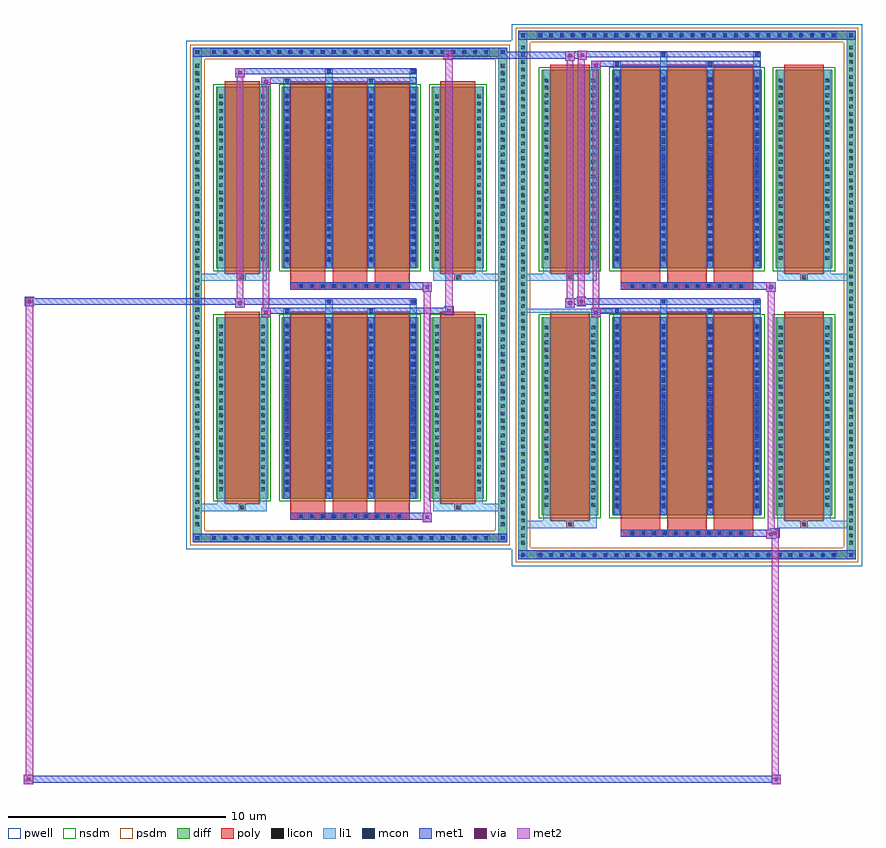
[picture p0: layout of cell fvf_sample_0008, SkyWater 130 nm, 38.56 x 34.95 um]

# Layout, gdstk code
import gdstk
lib = gdstk.Library(unit=1e-6, precision=1e-09)
def R(c, l, rs):  # rectangles x0, y0, x1, y1
    for r in rs: c.add(gdstk.rectangle(r[:2], r[2:], *l))
def A(c, l, x, y, w, h, nx, ny, dx, dy):  # array of equal rectangles
    R(c, l, [(x+i*dx, y+j*dy, x+i*dx+w, y+j*dy+h) for i in range(nx) for j in range(ny)])
def P(c, l, *ps):  # polygons
    for p in ps: c.add(gdstk.Polygon(p, *l))
pwell = (64, 44)
diff = (65, 20)
poly = (66, 20)
licon = (66, 44)
li1 = (67, 20)
mcon = (67, 44)
met1 = (68, 20)
via = (68, 44)
met2 = (69, 20)
nsdm = (93, 44)
psdm = (94, 20)

fvf_sample_0008 = lib.new_cell('fvf_sample_0008')
R(fvf_sample_0008, pwell, [(7.435,-12.464,23.555,12.464), (-7.535,-11.688,7.535,11.688)])
A(fvf_sample_0008, diff, 8.54, -12.154, 0.41, 0.41, 28, 2, 0.5, 23.898)
A(fvf_sample_0008, diff, 7.745, -11.595, 0.41, 0.41, 1, 68, 0, 0.34)
A(fvf_sample_0008, diff, 22.835, -11.595, 0.41, 0.41, 1, 68, 0, 0.34)
A(fvf_sample_0008, diff, -6.455, -11.378, 0.41, 0.41, 26, 2, 0.5, 22.346)
A(fvf_sample_0008, diff, -7.225, -10.745, 0.41, 0.41, 1, 63, 0, 0.34)
A(fvf_sample_0008, diff, 6.815, -10.745, 0.41, 0.41, 1, 63, 0, 0.34)
R(fvf_sample_0008, diff, [(8.54,-12.154,22.45,-11.744), (7.745,-11.595,8.155,11.595), (22.835,-11.595,23.245,11.595), (-6.455,-11.378,6.455,-10.968), (-7.225,-10.745,-6.815,10.745), (6.815,-10.745,7.225,10.745), (8.815,-10.133,11.411,-1.015), (12.051,-10.133,18.939,-1.015), (19.579,-10.133,22.175,-1.015), (-6.155,-9.357,-3.769,-1.015), (-3.129,-9.357,3.129,-1.015), (3.769,-9.357,6.155,-1.015), (-6.155,1.231,-3.769,9.573), (-3.129,1.231,3.129,9.573), (3.769,1.231,6.155,9.573), (8.815,1.231,11.411,10.349), (12.051,1.231,18.939,10.349), (19.579,1.231,22.175,10.349), (-6.455,10.968,6.455,11.378), (8.54,11.744,22.45,12.154)])
P(fvf_sample_0008, diff, [(7.225,11.378),(-7.225,11.378),(-7.225,-10.968),(-6.815,-10.968),(-6.815,10.968),(6.815,10.968),(6.815,-10.968),(-6.815,-10.968),(-7.225,-10.968),(-7.225,-11.378),(7.225,-11.378)],
  [(23.245,12.154),(7.745,12.154),(7.745,-11.744),(8.155,-11.744),(8.155,11.744),(22.835,11.744),(22.835,-11.744),(8.155,-11.744),(7.745,-11.744),(7.745,-12.154),(23.245,-12.154)])
A(fvf_sample_0008, poly, 12.83, -11.114, 0.33, 0.33, 11, 2, 0.5, 11.364)
A(fvf_sample_0008, poly, 12.441, -10.784, 1.816, 0.401, 3, 2, 2.146, 11.364)
A(fvf_sample_0008, poly, 12.441, -10.383, 1.816, 9.618, 3, 2, 2.146, 11.364)
A(fvf_sample_0008, poly, -2.415, -10.338, 0.33, 0.33, 10, 2, 0.5, 10.588)
A(fvf_sample_0008, poly, -2.739, -10.008, 1.606, 0.401, 3, 2, 1.936, 10.588)
A(fvf_sample_0008, poly, -2.739, -9.607, 1.606, 8.842, 3, 2, 1.936, 10.588)
R(fvf_sample_0008, poly, [(12.441,-11.114,18.549,-10.784), (9.948,-10.713,10.278,-10.383), (9.948,-10.713,10.278,-10.383), (20.712,-10.713,21.042,-10.383), (20.712,-10.713,21.042,-10.383), (9.205,-10.383,11.021,-0.765), (19.969,-10.383,21.785,-0.765), (-2.739,-10.338,2.739,-10.008), (-5.127,-9.937,-4.797,-9.607), (-5.127,-9.937,-4.797,-9.607), (4.797,-9.937,5.127,-9.607), (4.797,-9.937,5.127,-9.607), (-5.765,-9.607,-4.159,-0.765), (4.159,-9.607,5.765,-0.765), (-2.739,0.25,2.739,0.58), (12.441,0.25,18.549,0.58), (-5.127,0.651,-4.797,0.981), (-5.127,0.651,-4.797,0.981), (4.797,0.651,5.127,0.981), (4.797,0.651,5.127,0.981), (9.948,0.651,10.278,0.981), (9.948,0.651,10.278,0.981), (20.712,0.651,21.042,0.981), (20.712,0.651,21.042,0.981), (-5.765,0.981,-4.159,9.823), (4.159,0.981,5.765,9.823), (9.205,0.981,11.021,10.599), (19.969,0.981,21.785,10.599)])
A(fvf_sample_0008, licon, 8.66, -12.034, 0.17, 0.17, 28, 2, 0.5, 23.898)
A(fvf_sample_0008, licon, 7.865, -11.475, 0.17, 0.17, 1, 68, 0, 0.34)
A(fvf_sample_0008, licon, 22.955, -11.475, 0.17, 0.17, 1, 68, 0, 0.34)
A(fvf_sample_0008, licon, -6.335, -11.258, 0.17, 0.17, 26, 2, 0.5, 22.346)
A(fvf_sample_0008, licon, 12.91, -11.034, 0.17, 0.17, 11, 2, 0.5, 11.364)
A(fvf_sample_0008, licon, -7.105, -10.625, 0.17, 0.17, 1, 63, 0, 0.34)
A(fvf_sample_0008, licon, 6.935, -10.625, 0.17, 0.17, 1, 63, 0, 0.34)
A(fvf_sample_0008, licon, -2.335, -10.258, 0.17, 0.17, 10, 2, 0.5, 10.588)
A(fvf_sample_0008, licon, 8.955, -9.739, 0.17, 0.17, 1, 25, 0, 0.34)
A(fvf_sample_0008, licon, 11.101, -9.739, 0.17, 0.17, 1, 25, 0, 0.34)
A(fvf_sample_0008, licon, 12.191, -9.739, 0.17, 0.17, 4, 25, 2.146, 0.34)
A(fvf_sample_0008, licon, 19.719, -9.739, 0.17, 0.17, 1, 25, 0, 0.34)
A(fvf_sample_0008, licon, 21.865, -9.739, 0.17, 0.17, 1, 25, 0, 0.34)
A(fvf_sample_0008, licon, -6.015, -9.011, 0.17, 0.17, 1, 23, 0, 0.34)
A(fvf_sample_0008, licon, -4.079, -9.011, 0.17, 0.17, 1, 23, 0, 0.34)
A(fvf_sample_0008, licon, -2.989, -9.011, 0.17, 0.17, 4, 23, 1.936, 0.34)
A(fvf_sample_0008, licon, 3.909, -9.011, 0.17, 0.17, 1, 23, 0, 0.34)
A(fvf_sample_0008, licon, 5.845, -9.011, 0.17, 0.17, 1, 23, 0, 0.34)
A(fvf_sample_0008, licon, -6.015, 1.577, 0.17, 0.17, 1, 23, 0, 0.34)
A(fvf_sample_0008, licon, -4.079, 1.577, 0.17, 0.17, 1, 23, 0, 0.34)
A(fvf_sample_0008, licon, -2.989, 1.577, 0.17, 0.17, 4, 23, 1.936, 0.34)
A(fvf_sample_0008, licon, 3.909, 1.577, 0.17, 0.17, 1, 23, 0, 0.34)
A(fvf_sample_0008, licon, 5.845, 1.577, 0.17, 0.17, 1, 23, 0, 0.34)
A(fvf_sample_0008, licon, 8.955, 1.625, 0.17, 0.17, 1, 25, 0, 0.34)
A(fvf_sample_0008, licon, 11.101, 1.625, 0.17, 0.17, 1, 25, 0, 0.34)
A(fvf_sample_0008, licon, 12.191, 1.625, 0.17, 0.17, 4, 25, 2.146, 0.34)
A(fvf_sample_0008, licon, 19.719, 1.625, 0.17, 0.17, 1, 25, 0, 0.34)
A(fvf_sample_0008, licon, 21.865, 1.625, 0.17, 0.17, 1, 25, 0, 0.34)
R(fvf_sample_0008, licon, [(10.028,-10.633,10.198,-10.463), (20.792,-10.633,20.962,-10.463), (-5.047,-9.857,-4.877,-9.687), (4.877,-9.857,5.047,-9.687), (-5.047,0.731,-4.877,0.901), (4.877,0.731,5.047,0.901), (10.028,0.731,10.198,0.901), (20.792,0.731,20.962,0.901)])
A(fvf_sample_0008, li1, 8.58, -12.114, 0.33, 0.33, 28, 2, 0.5, 23.898)
A(fvf_sample_0008, li1, 7.785, -11.555, 0.33, 0.33, 1, 68, 0, 0.34)
A(fvf_sample_0008, li1, 22.875, -11.555, 0.33, 0.33, 1, 68, 0, 0.34)
A(fvf_sample_0008, li1, -6.415, -11.338, 0.33, 0.33, 26, 2, 0.5, 22.346)
A(fvf_sample_0008, li1, 12.83, -11.114, 0.33, 0.33, 11, 2, 0.5, 11.364)
A(fvf_sample_0008, li1, -7.185, -10.705, 0.33, 0.33, 1, 63, 0, 0.34)
A(fvf_sample_0008, li1, 6.855, -10.705, 0.33, 0.33, 1, 63, 0, 0.34)
A(fvf_sample_0008, li1, -2.415, -10.338, 0.33, 0.33, 10, 2, 0.5, 10.588)
A(fvf_sample_0008, li1, 12.111, -10.133, 0.33, 9.118, 4, 2, 2.146, 11.364)
A(fvf_sample_0008, li1, 8.875, -9.819, 0.33, 0.33, 1, 25, 0, 0.34)
A(fvf_sample_0008, li1, 11.021, -9.819, 0.33, 0.33, 1, 25, 0, 0.34)
A(fvf_sample_0008, li1, 12.111, -9.819, 0.33, 0.33, 4, 25, 2.146, 0.34)
A(fvf_sample_0008, li1, 19.639, -9.819, 0.33, 0.33, 1, 25, 0, 0.34)
A(fvf_sample_0008, li1, 21.785, -9.819, 0.33, 0.33, 1, 25, 0, 0.34)
A(fvf_sample_0008, li1, 12.191, -9.799, 0.17, 0.17, 4, 24, 2.146, 0.36)
A(fvf_sample_0008, li1, 12.191, -9.799, 0.17, 8.45, 4, 2, 2.146, 11.364)
A(fvf_sample_0008, li1, -3.069, -9.357, 0.33, 8.342, 4, 2, 1.936, 10.588)
A(fvf_sample_0008, li1, -6.095, -9.091, 0.33, 0.33, 1, 23, 0, 0.34)
A(fvf_sample_0008, li1, -4.159, -9.091, 0.33, 0.33, 1, 23, 0, 0.34)
A(fvf_sample_0008, li1, -3.069, -9.091, 0.33, 0.33, 4, 23, 1.936, 0.34)
A(fvf_sample_0008, li1, 3.829, -9.091, 0.33, 0.33, 1, 23, 0, 0.34)
A(fvf_sample_0008, li1, 5.765, -9.091, 0.33, 0.33, 1, 23, 0, 0.34)
A(fvf_sample_0008, li1, -2.989, -9.051, 0.17, 0.17, 4, 22, 1.936, 0.36)
A(fvf_sample_0008, li1, -2.989, -9.051, 0.17, 7.73, 4, 2, 1.936, 10.588)
A(fvf_sample_0008, li1, -6.095, 1.497, 0.33, 0.33, 1, 23, 0, 0.34)
A(fvf_sample_0008, li1, -4.159, 1.497, 0.33, 0.33, 1, 23, 0, 0.34)
A(fvf_sample_0008, li1, -3.069, 1.497, 0.33, 0.33, 4, 23, 1.936, 0.34)
A(fvf_sample_0008, li1, 3.829, 1.497, 0.33, 0.33, 1, 23, 0, 0.34)
A(fvf_sample_0008, li1, 5.765, 1.497, 0.33, 0.33, 1, 23, 0, 0.34)
A(fvf_sample_0008, li1, -2.989, 1.537, 0.17, 0.17, 4, 22, 1.936, 0.36)
A(fvf_sample_0008, li1, 8.875, 1.545, 0.33, 0.33, 1, 25, 0, 0.34)
A(fvf_sample_0008, li1, 11.021, 1.545, 0.33, 0.33, 1, 25, 0, 0.34)
A(fvf_sample_0008, li1, 12.111, 1.545, 0.33, 0.33, 4, 25, 2.146, 0.34)
A(fvf_sample_0008, li1, 19.639, 1.545, 0.33, 0.33, 1, 25, 0, 0.34)
A(fvf_sample_0008, li1, 21.785, 1.545, 0.33, 0.33, 1, 25, 0, 0.34)
A(fvf_sample_0008, li1, 12.191, 1.565, 0.17, 0.17, 4, 24, 2.146, 0.36)
R(fvf_sample_0008, li1, [(7.745,-12.154,8.155,-11.744), (22.835,-12.154,23.245,-11.744), (8.58,-12.114,22.41,-11.784), (7.865,-12.034,8.035,-11.864), (7.865,-12.034,8.035,-11.864), (22.955,-12.034,23.125,-11.864), (22.955,-12.034,23.125,-11.864), (7.745,-11.744,8.155,11.744), (22.835,-11.744,23.245,11.744), (-7.225,-11.378,-6.815,-10.968), (6.815,-11.378,7.225,-10.968), (-6.415,-11.338,6.415,-11.008), (-7.105,-11.258,-6.935,-11.088), (-7.105,-11.258,-6.935,-11.088), (6.935,-11.258,7.105,-11.088), (6.935,-11.258,7.105,-11.088), (-7.225,-10.968,-6.815,10.968), (6.815,-10.968,7.225,10.968), (7.745,-10.713,9.948,-10.383), (8.875,-10.713,9.205,-10.133), (8.875,-10.713,9.948,-10.383), (9.948,-10.713,10.278,-10.383), (10.278,-10.713,11.351,-10.383), (11.021,-10.713,11.351,-10.133), (19.639,-10.713,19.969,-10.133), (19.639,-10.713,20.712,-10.383), (20.712,-10.713,21.042,-10.383), (20.712,-10.713,23.245,-10.383), (21.042,-10.713,22.115,-10.383), (21.785,-10.713,22.115,-10.133), (8.875,-10.133,9.205,-1.015), (11.021,-10.133,11.351,-1.015), (19.639,-10.133,19.969,-1.015), (21.785,-10.133,22.115,-1.015), (-7.225,-9.937,-5.127,-9.607), (-6.095,-9.937,-5.127,-9.607), (-6.095,-9.937,-5.765,-9.357), (-5.127,-9.937,-4.797,-9.607), (-4.797,-9.937,-3.829,-9.607), (-4.159,-9.937,-3.829,-9.357), (3.829,-9.937,4.797,-9.607), (3.829,-9.937,4.159,-9.357), (4.797,-9.937,5.127,-9.607), (4.797,-9.937,7.225,-9.607), (5.127,-9.937,6.095,-9.607), (5.765,-9.937,6.095,-9.357), (-6.095,-9.357,-5.765,-1.015), (-4.159,-9.357,-3.829,-1.015), (3.829,-9.357,4.159,-1.015), (5.765,-9.357,6.095,-1.015), (-3.069,-1.015,-2.739,-0.64), (-1.133,-1.015,-0.803,-0.21), (0.803,-1.015,1.133,-0.64), (2.739,-1.015,3.069,-0.21), (12.111,-1.015,12.441,-0.64), (14.257,-1.015,14.587,-0.21), (16.403,-1.015,16.733,-0.64), (18.549,-1.015,18.879,-0.21), (12.131,-0.87,12.421,-0.58), (7.745,-0.825,12.131,-0.625), (-2.989,-0.81,-2.819,-0.64), (0.883,-0.81,1.053,-0.64), (12.191,-0.81,12.361,-0.64), (12.191,-0.81,12.361,-0.64), (16.483,-0.81,16.653,-0.64), (-1.053,-0.38,-0.883,-0.21), (2.819,-0.38,2.989,-0.21), (14.337,-0.38,14.507,-0.21), (18.629,-0.38,18.799,-0.21), (-7.225,0.651,-5.127,0.981), (-6.095,0.651,-5.127,0.981), (-6.095,0.651,-5.765,1.231), (-5.127,0.651,-4.797,0.981), (-4.797,0.651,-3.829,0.981), (-4.159,0.651,-3.829,1.231), (3.829,0.651,4.797,0.981), (3.829,0.651,4.159,1.231), (4.797,0.651,5.127,0.981), (4.797,0.651,7.225,0.981), (5.127,0.651,6.095,0.981), (5.765,0.651,6.095,1.231), (7.745,0.651,9.948,0.981), (8.875,0.651,9.205,1.231), (8.875,0.651,9.948,0.981), (9.948,0.651,10.278,0.981), (10.278,0.651,11.351,0.981), (11.021,0.651,11.351,1.231), (19.639,0.651,19.969,1.231), (19.639,0.651,20.712,0.981), (20.712,0.651,21.042,0.981), (20.712,0.651,23.245,0.981), (21.042,0.651,22.115,0.981), (21.785,0.651,22.115,1.231), (-6.095,1.231,-5.765,9.573), (-4.159,1.231,-3.829,9.573), (3.829,1.231,4.159,9.573), (5.765,1.231,6.095,9.573), (8.875,1.231,9.205,10.349), (11.021,1.231,11.351,10.349), (19.639,1.231,19.969,10.349), (21.785,1.231,22.115,10.349), (-3.069,9.573,-2.739,9.948), (-1.133,9.573,-0.803,10.378), (0.803,9.573,1.133,9.948), (2.739,9.573,3.069,10.378), (-2.989,9.778,-2.819,9.948), (0.883,9.778,1.053,9.948), (-1.053,10.208,-0.883,10.378), (2.819,10.208,2.989,10.378), (12.111,10.349,12.441,10.724), (14.257,10.349,14.587,11.154), (16.403,10.349,16.733,10.724), (18.549,10.349,18.879,11.154), (12.191,10.554,12.361,10.724), (16.483,10.554,16.653,10.724), (-7.225,10.968,-6.815,11.378), (6.815,10.968,7.225,11.378), (14.337,10.984,14.507,11.154), (18.629,10.984,18.799,11.154), (-6.415,11.008,6.415,11.338), (-7.105,11.088,-6.935,11.258), (-7.105,11.088,-6.935,11.258), (6.935,11.088,7.105,11.258), (6.935,11.088,7.105,11.258), (7.745,11.744,8.155,12.154), (22.835,11.744,23.245,12.154), (8.58,11.784,22.41,12.114), (7.865,11.864,8.035,12.034), (7.865,11.864,8.035,12.034), (22.955,11.864,23.125,12.034), (22.955,11.864,23.125,12.034)])
A(fvf_sample_0008, mcon, 8.66, -12.034, 0.17, 0.17, 28, 2, 0.5, 23.898)
A(fvf_sample_0008, mcon, -6.335, -11.258, 0.17, 0.17, 26, 2, 0.5, 22.346)
A(fvf_sample_0008, mcon, 12.91, -11.034, 0.17, 0.17, 11, 2, 0.5, 11.364)
A(fvf_sample_0008, mcon, -2.335, -10.258, 0.17, 0.17, 10, 2, 0.5, 10.588)
A(fvf_sample_0008, mcon, 12.191, -9.799, 0.17, 0.17, 4, 24, 2.146, 0.36)
A(fvf_sample_0008, mcon, -2.989, -9.051, 0.17, 0.17, 4, 22, 1.936, 0.36)
A(fvf_sample_0008, mcon, -2.989, 1.537, 0.17, 0.17, 4, 22, 1.936, 0.36)
A(fvf_sample_0008, mcon, 12.191, 1.565, 0.17, 0.17, 4, 24, 2.146, 0.36)
R(fvf_sample_0008, mcon, [(7.865,-12.034,8.035,-11.864), (22.955,-12.034,23.125,-11.864), (-7.105,-11.258,-6.935,-11.088), (6.935,-11.258,7.105,-11.088), (-2.989,-0.81,-2.819,-0.64), (0.883,-0.81,1.053,-0.64), (12.191,-0.81,12.361,-0.64), (12.191,-0.81,12.361,-0.64), (16.483,-0.81,16.653,-0.64), (-1.053,-0.38,-0.883,-0.21), (2.819,-0.38,2.989,-0.21), (14.337,-0.38,14.507,-0.21), (18.629,-0.38,18.799,-0.21), (-2.989,9.778,-2.819,9.948), (0.883,9.778,1.053,9.948), (-1.053,10.208,-0.883,10.378), (2.819,10.208,2.989,10.378), (12.191,10.554,12.361,10.724), (16.483,10.554,16.653,10.724), (14.337,10.984,14.507,11.154), (18.629,10.984,18.799,11.154), (-7.105,11.088,-6.935,11.258), (6.935,11.088,7.105,11.258), (7.865,11.864,8.035,12.034), (22.955,11.864,23.125,12.034)])
A(fvf_sample_0008, met1, 8.6, -12.094, 0.29, 0.29, 28, 2, 0.5, 23.898)
A(fvf_sample_0008, met1, -6.395, -11.318, 0.29, 0.29, 26, 2, 0.5, 22.346)
A(fvf_sample_0008, met1, 12.85, -11.094, 0.29, 0.29, 11, 2, 0.5, 11.364)
A(fvf_sample_0008, met1, -2.395, -10.318, 0.29, 0.29, 10, 2, 0.5, 10.588)
A(fvf_sample_0008, met1, 12.131, -10.133, 0.29, 9.118, 4, 2, 2.146, 11.364)
A(fvf_sample_0008, met1, 12.131, -9.859, 0.29, 0.29, 4, 24, 2.146, 0.36)
A(fvf_sample_0008, met1, -3.049, -9.357, 0.29, 8.342, 4, 2, 1.936, 10.588)
A(fvf_sample_0008, met1, -3.049, -9.111, 0.29, 0.29, 4, 22, 1.936, 0.36)
A(fvf_sample_0008, met1, -3.049, 1.477, 0.29, 0.29, 4, 22, 1.936, 0.36)
A(fvf_sample_0008, met1, 12.131, 1.505, 0.29, 0.29, 4, 24, 2.146, 0.36)
R(fvf_sample_0008, met1, [(-15.002,-22.484,-14.572,-22.054), (19.384,-22.484,19.814,-22.054), (-15.002,-22.434,19.814,-22.104), (-15.002,-22.104,-14.572,-22.054), (19.384,-22.104,19.814,-22.054), (7.745,-12.154,8.155,-11.744), (7.745,-12.154,8.155,-11.744), (8.155,-12.154,22.835,-11.744), (22.835,-12.154,23.245,-11.744), (22.835,-12.154,23.245,-11.744), (7.805,-12.094,8.095,-11.804), (22.895,-12.094,23.185,-11.804), (-7.225,-11.378,-6.815,-10.968), (-7.225,-11.378,-6.815,-10.968), (-6.815,-11.378,6.815,-10.968), (6.815,-11.378,7.225,-10.968), (6.815,-11.378,7.225,-10.968), (-7.165,-11.318,-6.875,-11.028), (6.875,-11.318,7.165,-11.028), (19.149,-11.214,19.579,-10.784), (19.334,-11.164,19.764,-10.734), (12.441,-11.114,18.549,-10.784), (18.549,-11.114,19.579,-10.784), (18.549,-11.114,19.334,-10.784), (3.339,-10.438,3.769,-10.008), (-2.739,-10.338,2.739,-10.008), (2.739,-10.338,3.769,-10.008), (-4.079,-1.01,-3.649,-0.58), (11.101,-1.01,11.531,-0.58), (4.334,-0.94,4.764,-0.51), (-4.079,-0.87,-3.049,-0.58), (-3.049,-0.87,-2.759,-0.58), (-3.049,-0.87,3.049,-0.58), (0.823,-0.87,1.113,-0.58), (3.049,-0.87,4.334,-0.58), (11.101,-0.87,12.131,-0.58), (12.131,-0.87,12.421,-0.58), (12.131,-0.87,12.421,-0.58), (12.131,-0.87,18.859,-0.58), (16.423,-0.87,16.713,-0.58), (-5.279,-0.58,-4.849,-0.15), (9.901,-0.58,10.331,-0.15), (-14.952,-0.51,-14.522,-0.08), (10.416,-0.51,10.846,-0.08), (-14.522,-0.44,-3.049,-0.15), (-5.279,-0.44,-3.049,-0.15), (-3.049,-0.44,3.049,-0.15), (-1.113,-0.44,-0.823,-0.15), (2.759,-0.44,3.049,-0.15), (9.901,-0.44,12.131,-0.15), (10.846,-0.44,12.131,-0.15), (12.131,-0.44,18.859,-0.15), (14.277,-0.44,14.567,-0.15), (18.569,-0.44,18.859,-0.15), (3.339,0.15,3.769,0.58), (19.149,0.15,19.579,0.58), (-2.739,0.25,2.739,0.58), (2.739,0.25,3.769,0.58), (12.441,0.25,18.549,0.58), (18.549,0.25,19.579,0.58), (-4.079,9.578,-3.649,10.008), (-4.079,9.718,-3.049,10.008), (-3.049,9.718,-2.759,10.008), (-3.049,9.718,3.049,10.008), (0.823,9.718,1.113,10.008), (-5.279,10.008,-4.849,10.438), (-5.279,10.148,-3.049,10.438), (-3.049,10.148,3.049,10.438), (-1.113,10.148,-0.823,10.438), (2.759,10.148,3.049,10.438), (11.101,10.354,11.531,10.784), (11.101,10.494,12.131,10.784), (12.131,10.494,12.421,10.784), (12.131,10.494,18.859,10.784), (16.423,10.494,16.713,10.784), (9.901,10.784,10.331,11.214), (4.284,10.81,4.714,11.24), (10.466,10.81,10.896,11.24), (4.284,10.86,10.896,11.19), (9.901,10.924,12.131,11.214), (12.131,10.924,18.859,11.214), (14.277,10.924,14.567,11.214), (18.569,10.924,18.859,11.214), (-7.225,10.968,-6.815,11.378), (-7.225,10.968,-6.815,11.378), (-6.815,10.968,6.815,11.378), (6.815,10.968,7.225,11.378), (6.815,10.968,7.225,11.378), (-7.165,11.028,-6.875,11.318), (6.875,11.028,7.165,11.318), (4.284,11.19,4.714,11.24), (10.466,11.19,10.896,11.24), (7.745,11.744,8.155,12.154), (7.745,11.744,8.155,12.154), (8.155,11.744,22.835,12.154), (22.835,11.744,23.245,12.154), (22.835,11.744,23.245,12.154), (7.805,11.804,8.095,12.094), (22.895,11.804,23.185,12.094)])
R(fvf_sample_0008, via, [(-14.862,-22.344,-14.712,-22.194), (19.524,-22.344,19.674,-22.194), (19.289,-11.074,19.439,-10.924), (19.474,-11.024,19.624,-10.874), (3.479,-10.298,3.629,-10.148), (-3.939,-0.87,-3.789,-0.72), (11.241,-0.87,11.391,-0.72), (4.474,-0.8,4.624,-0.65), (-5.139,-0.44,-4.989,-0.29), (10.041,-0.44,10.191,-0.29), (-14.812,-0.37,-14.662,-0.22), (10.556,-0.37,10.706,-0.22), (3.479,0.29,3.629,0.44), (19.289,0.29,19.439,0.44), (-3.939,9.718,-3.789,9.868), (-5.139,10.148,-4.989,10.298), (11.241,10.494,11.391,10.644), (10.041,10.924,10.191,11.074), (4.424,10.95,4.574,11.1), (10.606,10.95,10.756,11.1)])
R(fvf_sample_0008, met2, [(-15.002,-22.484,-14.572,-22.054), (-14.902,-22.484,-14.572,-0.46), (19.384,-22.484,19.814,-22.054), (19.384,-22.484,19.714,-11.114), (-14.952,-22.434,-14.622,-22.104), (19.434,-22.434,19.764,-22.104), (19.149,-11.214,19.579,-10.784), (19.199,-11.214,19.529,0.58), (19.529,-11.214,19.579,-10.784), (19.199,-11.164,19.529,-10.834), (19.384,-11.114,19.714,-10.784), (3.339,-10.438,3.769,-10.008), (3.389,-10.438,3.719,0.58), (3.719,-10.438,3.769,-10.008), (3.389,-10.388,3.719,-10.058), (-4.079,-1.01,-3.649,-0.58), (-4.009,-1.01,-3.719,10.008), (-3.719,-1.01,-3.649,-0.58), (11.101,-1.01,11.531,-0.58), (11.171,-1.01,11.461,10.784), (11.461,-1.01,11.531,-0.58), (-4.029,-0.96,-3.699,-0.63), (11.151,-0.96,11.481,-0.63), (4.384,-0.89,4.714,-0.56), (-5.279,-0.58,-4.849,-0.15), (-5.209,-0.58,-4.919,10.438), (-4.919,-0.58,-4.849,-0.15), (9.901,-0.58,10.331,-0.15), (9.971,-0.58,10.261,11.214), (10.261,-0.58,10.331,-0.15), (4.384,-0.56,4.714,11.24), (-5.229,-0.53,-4.899,-0.2), (9.951,-0.53,10.281,-0.2), (-14.902,-0.46,-14.572,-0.13), (10.466,-0.46,10.796,-0.13), (10.466,-0.13,10.796,11.24), (3.339,0.15,3.769,0.58), (3.719,0.15,3.769,0.58), (19.149,0.15,19.579,0.58), (19.529,0.15,19.579,0.58), (3.389,0.2,3.719,0.53), (19.199,0.2,19.529,0.53), (-4.079,9.578,-3.649,10.008), (-3.719,9.578,-3.649,10.008), (-4.029,9.628,-3.699,9.958), (-5.279,10.008,-4.849,10.438), (-4.919,10.008,-4.849,10.438), (-5.229,10.058,-4.899,10.388), (11.101,10.354,11.531,10.784), (11.461,10.354,11.531,10.784), (11.151,10.404,11.481,10.734), (9.901,10.784,10.331,11.214), (10.261,10.784,10.331,11.214), (4.284,10.81,4.714,11.24), (10.466,10.81,10.896,11.24), (9.951,10.834,10.281,11.164), (4.334,10.86,4.664,11.19), (10.516,10.86,10.846,11.19)])
R(fvf_sample_0008, nsdm, [(8.685,-10.263,11.541,-0.885), (11.921,-10.263,19.069,-0.885), (19.449,-10.263,22.305,-0.885), (-6.285,-9.487,-3.639,-0.885), (-3.259,-9.487,3.259,-0.885), (3.639,-9.487,6.285,-0.885), (-6.285,1.101,-3.639,9.703), (-3.259,1.101,3.259,9.703), (3.639,1.101,6.285,9.703), (8.685,1.101,11.541,10.479), (11.921,1.101,19.069,10.479), (19.449,1.101,22.305,10.479)])
P(fvf_sample_0008, psdm, [(7.355,11.508),(-7.355,11.508),(-7.355,-10.838),(-6.685,-10.838),(-6.685,10.838),(6.685,10.838),(6.685,-10.838),(-6.685,-10.838),(-7.355,-10.838),(-7.355,-11.508),(7.355,-11.508)],
  [(23.375,12.284),(7.615,12.284),(7.615,-11.614),(8.285,-11.614),(8.285,11.614),(22.705,11.614),(22.705,-11.614),(8.285,-11.614),(7.615,-11.614),(7.615,-12.284),(23.375,-12.284)])

lib.write_gds('fvf_sample_0008.gds')
